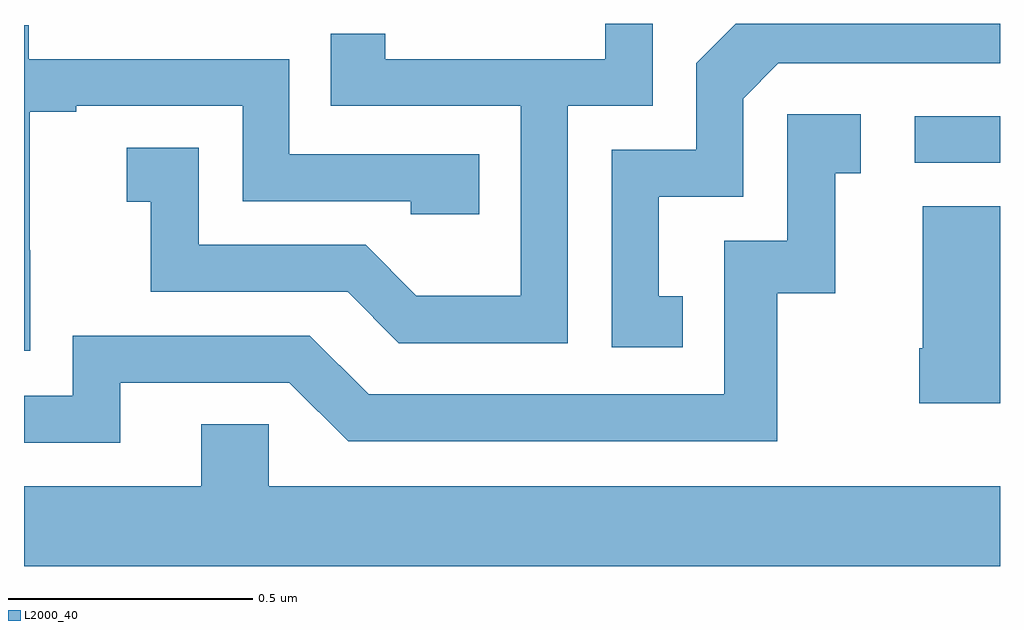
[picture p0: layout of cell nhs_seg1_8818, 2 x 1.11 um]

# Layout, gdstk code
import gdstk
lib = gdstk.Library(unit=1e-6, precision=1e-09)
def R(c, l, rs):  # rectangles x0, y0, x1, y1
    for r in rs: c.add(gdstk.rectangle(r[:2], r[2:], *l))
def P(c, l, *ps):  # polygons
    for p in ps: c.add(gdstk.Polygon(p, *l))
L2000_40 = (2000, 40)

nhs_seg1_8818 = lib.new_cell('nhs_seg1_8818')
R(nhs_seg1_8818, L2000_40, [(222.825,529.914,223,530.01)])
P(nhs_seg1_8818, L2000_40, [(222.35,529.641),(222.301,529.641),(222.301,529.845),(222.474,529.845),(222.474,530.046),(222.546,530.118),(223,530.118),(223,530.199),(222.459,530.199),(222.378,530.118),(222.378,529.941),(222.204,529.941),(222.204,529.536),(222.35,529.536)],
  [(222.114,530.031),(222.288,530.031),(222.288,530.199),(222.191,530.199),(222.191,530.127),(221.74,530.127),(221.74,530.179),(221.629,530.179),(221.629,530.031),(222.018,530.031),(222.018,529.642),(221.804,529.642),(221.7,529.746),(221.358,529.746),(221.358,529.945),(221.211,529.945),(221.211,529.835),(221.26,529.835),(221.26,529.65),(221.663,529.65),(221.768,529.545),(222.114,529.545)],
  [(221.013,529.735),(221.012,529.735),(221.012,530.019),(221.107,530.019),(221.107,530.031),(221.448,530.031),(221.448,529.836),(221.793,529.836),(221.793,529.809),(221.933,529.809),(221.933,529.932),(221.544,529.932),(221.544,530.127),(221.01,530.127),(221.01,530.196),(221,530.196),(221,529.529),(221.013,529.529)],
  [(221.197,529.464),(221.544,529.464),(221.664,529.344),(222.544,529.344),(222.544,529.647),(222.662,529.647),(222.662,529.893),(222.715,529.893),(222.715,530.014),(222.564,530.014),(222.564,529.755),(222.435,529.755),(222.435,529.44),(221.706,529.44),(221.586,529.56),(221.1,529.56),(221.1,529.437),(221,529.437),(221,529.341),(221.197,529.341)],
  [(223,529.825),(222.842,529.825),(222.842,529.534),(222.835,529.534),(222.835,529.422),(223,529.422)],
  [(223,529.252),(221.502,529.252),(221.502,529.379),(221.363,529.379),(221.363,529.252),(221,529.252),(221,529.088),(223,529.088)])

lib.write_gds('nhs_seg1_8818.gds')
